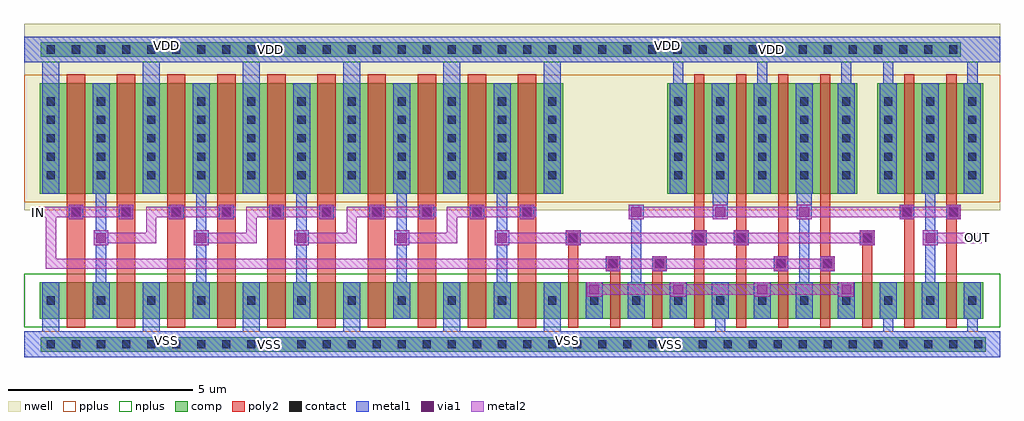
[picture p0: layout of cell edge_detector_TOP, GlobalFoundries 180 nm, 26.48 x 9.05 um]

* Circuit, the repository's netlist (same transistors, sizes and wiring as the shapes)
* Extracted by KLayout with GF180MCU LVS runset on : 16/11/2025 06:06

.SUBCKT edge_detector_TOP VSS IN OUT VDD
M$1 OUT \$13 VDD VDD pfet_03v3 L=0.28U W=6U AS=3.48P AD=3.48P PS=11.32U
+ PD=11.32U
M$3 \$13 \$8 VDD VDD pfet_03v3 L=0.28U W=6U AS=3.48P AD=2.58P PS=11.32U PD=7.72U
M$5 \$13 IN VDD VDD pfet_03v3 L=0.28U W=6U AS=2.58P AD=3.48P PS=7.72U PD=11.32U
M$7 \$3 IN VDD VDD pfet_03v3 L=0.5U W=6U AS=3.48P AD=2.58P PS=11.32U PD=7.72U
M$9 \$5 \$3 VDD VDD pfet_03v3 L=0.5U W=6U AS=2.58P AD=2.58P PS=7.72U PD=7.72U
M$11 \$6 \$5 VDD VDD pfet_03v3 L=0.5U W=6U AS=2.58P AD=2.58P PS=7.72U PD=7.72U
M$13 \$7 \$6 VDD VDD pfet_03v3 L=0.5U W=6U AS=2.58P AD=2.58P PS=7.72U PD=7.72U
M$15 \$8 \$7 VDD VDD pfet_03v3 L=0.5U W=6U AS=2.58P AD=3.48P PS=7.72U PD=11.32U
M$17 \$3 IN VSS VSS nfet_03v3 L=0.5U W=2U AS=1.16P AD=0.86P PS=5.32U PD=3.72U
M$19 \$5 \$3 VSS VSS nfet_03v3 L=0.5U W=2U AS=0.86P AD=0.86P PS=3.72U PD=3.72U
M$21 \$6 \$5 VSS VSS nfet_03v3 L=0.5U W=2U AS=0.86P AD=0.86P PS=3.72U PD=3.72U
M$23 \$7 \$6 VSS VSS nfet_03v3 L=0.5U W=2U AS=0.86P AD=0.86P PS=3.72U PD=3.72U
M$25 \$8 \$7 VSS VSS nfet_03v3 L=0.5U W=2U AS=0.86P AD=0.86P PS=3.72U PD=3.72U
M$27 \$14 \$8 VSS VSS nfet_03v3 L=0.28U W=4U AS=1.72P AD=1.72P PS=7.44U PD=7.44U
M$28 \$13 IN \$14 VSS nfet_03v3 L=0.28U W=4U AS=1.72P AD=1.72P PS=7.44U PD=7.44U
M$35 OUT \$13 VSS VSS nfet_03v3 L=0.28U W=2U AS=0.86P AD=1.16P PS=3.72U PD=5.32U
.ENDS edge_detector_TOP

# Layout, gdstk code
import gdstk
lib = gdstk.Library(unit=1e-6, precision=5e-09)
def R(c, l, rs):  # rectangles x0, y0, x1, y1
    for r in rs: c.add(gdstk.rectangle(r[:2], r[2:], *l))
def A(c, l, x, y, w, h, nx, ny, dx, dy):  # array of equal rectangles
    R(c, l, [(x+i*dx, y+j*dy, x+i*dx+w, y+j*dy+h) for i in range(nx) for j in range(ny)])
nwell = (21, 0)
comp = (22, 0)
poly2 = (30, 0)
pplus = (31, 0)
nplus = (32, 0)
contact = (33, 0)
metal1 = (34, 0)
via1 = (35, 0)
metal2 = (36, 0)

std_cell_frame = lib.new_cell('std_cell_frame')
R(std_cell_frame, nwell, [(0,3.99,3.78,9.05)])
R(std_cell_frame, pplus, [(0,0,3.78,0.7), (0,4.21,3.78,7.67)])
R(std_cell_frame, nplus, [(0,0.81,3.78,2.27), (0,8,3.78,8.7)])
std_cell_frame.add(gdstk.FlexPath([(0,0.35),(3.78,0.35)], 0.7, ends="flush", simple_path=True, layer=34, datatype=0))  # metal1
std_cell_frame.add(gdstk.FlexPath([(0,8.35),(3.78,8.35)], 0.7, ends="flush", simple_path=True, layer=34, datatype=0))  # metal1

std_pfet = lib.new_cell('std_pfet')
R(std_pfet, nwell, [(-1.22,-1.86,1.22,1.86)])
R(std_pfet, comp, [(-0.87,-1.5,0.87,1.5)])
R(std_pfet, poly2, [(-0.14,-1.74,0.14,1.74)])
R(std_pfet, pplus, [(-1.1,-1.73,1.1,1.73)])
A(std_pfet, contact, -0.68, -1.11, 0.22, 0.22, 1, 5, 0, 0.5)
A(std_pfet, contact, 0.46, -1.11, 0.22, 0.22, 1, 5, 0, 0.5)
A(std_pfet, metal1, -0.8, -1.23, 0.46, 0.46, 1, 5, 0, 0.5)
A(std_pfet, metal1, 0.34, -1.23, 0.46, 0.46, 1, 5, 0, 0.5)
R(std_pfet, metal1, [(-0.8,-1.5,-0.34,1.5), (0.34,-1.5,0.8,1.5)])

std_pfet_2nf = lib.new_cell('std_pfet_2nf')
R(std_pfet_2nf, nwell, [(-1.79,-1.86,1.79,1.86)])
R(std_pfet_2nf, comp, [(-1.44,-1.5,1.44,1.5)])
R(std_pfet_2nf, poly2, [(-0.71,-1.74,-0.43,1.74), (0.43,-1.74,0.71,1.74)])
R(std_pfet_2nf, pplus, [(-1.67,-1.73,1.67,1.73)])
A(std_pfet_2nf, contact, -1.25, -1.11, 0.22, 0.22, 3, 5, 1.14, 0.5)
A(std_pfet_2nf, metal1, -1.37, -1.5, 0.46, 3, 3, 1, 1.14, 0)
A(std_pfet_2nf, metal1, -1.37, -1.23, 0.46, 0.46, 3, 5, 1.14, 0.5)

via_dev_1 = lib.new_cell('via_dev$1')
R(via_dev_1, metal1, [(0,0,0.4,0.4)])
R(via_dev_1, via1, [(0.07,0.07,0.33,0.33)])
R(via_dev_1, metal2, [(0,0,0.4,0.4)])

std_nfet_2nf = lib.new_cell('std_nfet_2nf')
R(std_nfet_2nf, comp, [(-1.44,-0.5,1.44,0.5)])
R(std_nfet_2nf, poly2, [(-0.71,-0.74,-0.43,0.74), (0.43,-0.74,0.71,0.74)])
R(std_nfet_2nf, nplus, [(-1.67,-0.73,1.67,0.73)])
A(std_nfet_2nf, contact, -1.25, -0.11, 0.22, 0.22, 3, 1, 1.14, 0)
A(std_nfet_2nf, metal1, -1.37, -0.5, 0.46, 1, 3, 1, 1.14, 0)
A(std_nfet_2nf, metal1, -1.37, -0.23, 0.46, 0.46, 3, 1, 1.14, 0)

via_dev = lib.new_cell('via_dev')
R(via_dev, poly2, [(0,0,0.4,0.4)])
R(via_dev, contact, [(0.09,0.09,0.31,0.31)])
R(via_dev, metal1, [(0,0,0.4,0.4)])
R(via_dev, via1, [(0.07,0.07,0.33,0.33)])
R(via_dev, metal2, [(0,0,0.4,0.4)])

edge_detector_top = lib.new_cell('edge_detector_TOP')
A(edge_detector_top, nwell, 0, 3.99, 4.18, 5.06, 4, 1, 2.72, 0)
R(edge_detector_top, nwell, [(12.34,3.99,15.09,9.05)])
A(edge_detector_top, comp, 0.46, 0.15, 3.29, 0.4, 5, 1, 2.72, 0)
A(edge_detector_top, comp, 0.53, 0.15, 0.4, 0.4, 5, 2, 0.68, 8)
A(edge_detector_top, comp, 3.25, 0.15, 0.4, 0.4, 5, 2, 0.68, 8)
A(edge_detector_top, comp, 5.97, 0.15, 0.4, 0.4, 5, 2, 0.68, 8)
A(edge_detector_top, comp, 8.69, 0.15, 0.4, 0.4, 5, 2, 0.68, 8)
A(edge_detector_top, comp, 11.34, 0.15, 3.29, 0.4, 4, 1, 2.72, 0)
A(edge_detector_top, comp, 14.13, 0.15, 0.4, 0.4, 5, 2, 0.68, 8)
A(edge_detector_top, comp, 16.85, 0.15, 0.4, 0.4, 5, 2, 0.68, 8)
A(edge_detector_top, comp, 19.57, 0.15, 0.4, 0.4, 5, 2, 0.68, 8)
A(edge_detector_top, comp, 22.29, 0.15, 0.4, 0.4, 5, 2, 0.68, 8)
A(edge_detector_top, comp, 0.43, 1.04, 3.32, 1, 5, 1, 2.72, 0)
A(edge_detector_top, comp, 0.43, 4.44, 3.32, 3, 5, 1, 2.72, 0)
A(edge_detector_top, comp, 0.46, 8.15, 3.29, 0.4, 8, 1, 2.72, 0)
A(edge_detector_top, comp, 11.41, 8.15, 0.4, 0.4, 5, 1, 0.68, 0)
R(edge_detector_top, comp, [(11.41,0.15,11.81,0.55), (11.41,0.15,11.81,0.55), (11.41,0.15,11.81,0.55), (12.09,0.15,12.49,0.55), (12.09,0.15,12.49,0.55), (12.77,0.15,13.17,0.55), (12.77,0.15,13.17,0.55), (13.45,0.15,13.85,0.55), (13.45,0.15,13.85,0.55), (14.13,0.15,14.53,0.55), (14.13,0.15,14.53,0.55), (22.22,0.15,26.09,0.55), (22.29,0.15,22.69,0.55), (25.01,0.15,25.41,0.55), (25.69,0.15,26.09,0.55), (11.41,8.15,11.81,8.55), (22.22,8.15,25.41,8.55), (25.01,8.15,25.41,8.55), (25.01,8.15,25.41,8.55), (25.01,8.15,25.41,8.55)])
A(edge_detector_top, poly2, 1.16, 0.8, 0.5, 1.48, 10, 1, 1.36, 0)
A(edge_detector_top, poly2, 1.16, 0.8, 0.5, 2.89, 10, 1, 1.36, 0)
A(edge_detector_top, poly2, 1.16, 3.69, 0.5, 0.5, 10, 1, 1.36, 0)
A(edge_detector_top, poly2, 1.16, 4.19, 0.5, 3.49, 10, 1, 1.36, 0)
A(edge_detector_top, pplus, 0, 0, 4.18, 0.7, 3, 1, 2.72, 0)
A(edge_detector_top, pplus, 10.88, 0, 4.18, 0.7, 3, 1, 2.72, 0)
A(edge_detector_top, pplus, 0.2, 4.21, 3.78, 3.46, 4, 1, 2.72, 0)
R(edge_detector_top, pplus, [(8.16,0,15.09,0.7), (0,4.21,0.2,7.67), (12.14,4.21,14.86,7.67)])
A(edge_detector_top, nplus, 0, 0.81, 4.18, 1.46, 4, 1, 2.72, 0)
A(edge_detector_top, nplus, 0, 8, 4.18, 0.7, 3, 1, 2.72, 0)
A(edge_detector_top, nplus, 13.6, 8, 4.18, 0.7, 3, 1, 2.72, 0)
R(edge_detector_top, nplus, [(12.34,0.81,13.58,2.27), (8.16,8,15.09,8.7), (21.76,8,26.48,8.7)])
A(edge_detector_top, contact, 0.62, 0.24, 0.22, 0.22, 5, 2, 0.68, 8)
A(edge_detector_top, contact, 3.34, 0.24, 0.22, 0.22, 5, 2, 0.68, 8)
A(edge_detector_top, contact, 6.06, 0.24, 0.22, 0.22, 5, 2, 0.68, 8)
A(edge_detector_top, contact, 8.78, 0.24, 0.22, 0.22, 5, 2, 0.68, 8)
A(edge_detector_top, contact, 14.22, 0.24, 0.22, 0.22, 5, 2, 0.68, 8)
A(edge_detector_top, contact, 16.94, 0.24, 0.22, 0.22, 5, 2, 0.68, 8)
A(edge_detector_top, contact, 19.66, 0.24, 0.22, 0.22, 5, 2, 0.68, 8)
A(edge_detector_top, contact, 22.38, 0.24, 0.22, 0.22, 5, 2, 0.68, 8)
A(edge_detector_top, contact, 1.3, 3.83, 0.22, 0.22, 10, 1, 1.36, 0)
A(edge_detector_top, contact, 11.5, 8.24, 0.22, 0.22, 5, 1, 0.68, 0)
R(edge_detector_top, contact, [(11.5,0.24,11.72,0.46), (11.5,0.24,11.72,0.46), (11.5,0.24,11.72,0.46), (12.18,0.24,12.4,0.46), (12.18,0.24,12.4,0.46), (12.86,0.24,13.08,0.46), (12.86,0.24,13.08,0.46), (13.54,0.24,13.76,0.46), (13.54,0.24,13.76,0.46), (14.22,0.24,14.44,0.46), (14.22,0.24,14.44,0.46), (22.38,0.24,22.6,0.46), (25.1,0.24,25.32,0.46), (25.78,0.24,26,0.46), (0.62,1.43,0.84,1.65), (0.62,1.43,0.84,1.65), (0.62,1.43,0.84,1.65), (1.98,1.43,2.2,1.65), (1.98,1.43,2.2,1.65), (1.98,1.43,2.2,1.65), (3.34,1.43,3.56,1.65), (3.34,1.43,3.56,1.65), (3.34,1.43,3.56,1.65), (3.34,1.43,3.56,1.65), (3.34,1.43,3.56,1.65), (3.34,1.43,3.56,1.65), (4.7,1.43,4.92,1.65), (4.7,1.43,4.92,1.65), (4.7,1.43,4.92,1.65), (6.06,1.43,6.28,1.65), (6.06,1.43,6.28,1.65), (6.06,1.43,6.28,1.65), (6.06,1.43,6.28,1.65), (6.06,1.43,6.28,1.65), (6.06,1.43,6.28,1.65), (7.42,1.43,7.64,1.65), (7.42,1.43,7.64,1.65), (7.42,1.43,7.64,1.65), (8.78,1.43,9,1.65), (8.78,1.43,9,1.65), (8.78,1.43,9,1.65), (8.78,1.43,9,1.65), (8.78,1.43,9,1.65), (8.78,1.43,9,1.65), (10.14,1.43,10.36,1.65), (10.14,1.43,10.36,1.65), (10.14,1.43,10.36,1.65), (11.5,1.43,11.72,1.65), (11.5,1.43,11.72,1.65), (11.5,1.43,11.72,1.65), (11.5,1.43,11.72,1.65), (11.5,1.43,11.72,1.65), (11.5,1.43,11.72,1.65), (11.5,1.43,11.72,1.65), (11.5,1.43,11.72,1.65), (11.5,1.43,11.72,1.65), (12.86,1.43,13.08,1.65), (12.86,1.43,13.08,1.65), (12.86,1.43,13.08,1.65), (14.22,1.43,14.44,1.65), (14.22,1.43,14.44,1.65), (14.22,1.43,14.44,1.65), (0.62,4.83,0.84,5.05), (0.62,4.83,0.84,5.05), (0.62,4.83,0.84,5.05), (1.98,4.83,2.2,5.05), (1.98,4.83,2.2,5.05), (1.98,4.83,2.2,5.05), (3.34,4.83,3.56,5.05), (3.34,4.83,3.56,5.05), (3.34,4.83,3.56,5.05), (3.34,4.83,3.56,5.05), (3.34,4.83,3.56,5.05), (3.34,4.83,3.56,5.05), (4.7,4.83,4.92,5.05), (4.7,4.83,4.92,5.05), (4.7,4.83,4.92,5.05), (6.06,4.83,6.28,5.05), (6.06,4.83,6.28,5.05), (6.06,4.83,6.28,5.05), (6.06,4.83,6.28,5.05), (6.06,4.83,6.28,5.05), (6.06,4.83,6.28,5.05), (7.42,4.83,7.64,5.05), (7.42,4.83,7.64,5.05), (7.42,4.83,7.64,5.05), (8.78,4.83,9,5.05), (8.78,4.83,9,5.05), (8.78,4.83,9,5.05), (8.78,4.83,9,5.05), (8.78,4.83,9,5.05), (8.78,4.83,9,5.05), (10.14,4.83,10.36,5.05), (10.14,4.83,10.36,5.05), (10.14,4.83,10.36,5.05), (11.5,4.83,11.72,5.05), (11.5,4.83,11.72,5.05), (11.5,4.83,11.72,5.05), (11.5,4.83,11.72,5.05), (11.5,4.83,11.72,5.05), (11.5,4.83,11.72,5.05), (11.5,4.83,11.72,5.05), (11.5,4.83,11.72,5.05), (11.5,4.83,11.72,5.05), (12.86,4.83,13.08,5.05), (12.86,4.83,13.08,5.05), (12.86,4.83,13.08,5.05), (14.22,4.83,14.44,5.05), (14.22,4.83,14.44,5.05), (14.22,4.83,14.44,5.05), (0.62,5.33,0.84,5.55), (0.62,5.33,0.84,5.55), (0.62,5.33,0.84,5.55), (1.98,5.33,2.2,5.55), (1.98,5.33,2.2,5.55), (1.98,5.33,2.2,5.55), (3.34,5.33,3.56,5.55), (3.34,5.33,3.56,5.55), (3.34,5.33,3.56,5.55), (3.34,5.33,3.56,5.55), (3.34,5.33,3.56,5.55), (3.34,5.33,3.56,5.55), (4.7,5.33,4.92,5.55), (4.7,5.33,4.92,5.55), (4.7,5.33,4.92,5.55), (6.06,5.33,6.28,5.55), (6.06,5.33,6.28,5.55), (6.06,5.33,6.28,5.55), (6.06,5.33,6.28,5.55), (6.06,5.33,6.28,5.55), (6.06,5.33,6.28,5.55), (7.42,5.33,7.64,5.55), (7.42,5.33,7.64,5.55), (7.42,5.33,7.64,5.55), (8.78,5.33,9,5.55), (8.78,5.33,9,5.55), (8.78,5.33,9,5.55), (8.78,5.33,9,5.55), (8.78,5.33,9,5.55), (8.78,5.33,9,5.55), (10.14,5.33,10.36,5.55), (10.14,5.33,10.36,5.55), (10.14,5.33,10.36,5.55), (11.5,5.33,11.72,5.55), (11.5,5.33,11.72,5.55), (11.5,5.33,11.72,5.55), (11.5,5.33,11.72,5.55), (11.5,5.33,11.72,5.55), (11.5,5.33,11.72,5.55), (11.5,5.33,11.72,5.55), (11.5,5.33,11.72,5.55), (11.5,5.33,11.72,5.55), (12.86,5.33,13.08,5.55), (12.86,5.33,13.08,5.55), (12.86,5.33,13.08,5.55), (14.22,5.33,14.44,5.55), (14.22,5.33,14.44,5.55), (14.22,5.33,14.44,5.55), (0.62,5.83,0.84,6.05), (0.62,5.83,0.84,6.05), (0.62,5.83,0.84,6.05), (1.98,5.83,2.2,6.05), (1.98,5.83,2.2,6.05), (1.98,5.83,2.2,6.05), (3.34,5.83,3.56,6.05), (3.34,5.83,3.56,6.05), (3.34,5.83,3.56,6.05), (3.34,5.83,3.56,6.05), (3.34,5.83,3.56,6.05), (3.34,5.83,3.56,6.05), (4.7,5.83,4.92,6.05), (4.7,5.83,4.92,6.05), (4.7,5.83,4.92,6.05), (6.06,5.83,6.28,6.05), (6.06,5.83,6.28,6.05), (6.06,5.83,6.28,6.05), (6.06,5.83,6.28,6.05), (6.06,5.83,6.28,6.05), (6.06,5.83,6.28,6.05), (7.42,5.83,7.64,6.05), (7.42,5.83,7.64,6.05), (7.42,5.83,7.64,6.05), (8.78,5.83,9,6.05), (8.78,5.83,9,6.05), (8.78,5.83,9,6.05), (8.78,5.83,9,6.05), (8.78,5.83,9,6.05), (8.78,5.83,9,6.05), (10.14,5.83,10.36,6.05), (10.14,5.83,10.36,6.05), (10.14,5.83,10.36,6.05), (11.5,5.83,11.72,6.05), (11.5,5.83,11.72,6.05), (11.5,5.83,11.72,6.05), (11.5,5.83,11.72,6.05), (11.5,5.83,11.72,6.05), (11.5,5.83,11.72,6.05), (11.5,5.83,11.72,6.05), (11.5,5.83,11.72,6.05), (11.5,5.83,11.72,6.05), (12.86,5.83,13.08,6.05), (12.86,5.83,13.08,6.05), (12.86,5.83,13.08,6.05), (14.22,5.83,14.44,6.05), (14.22,5.83,14.44,6.05), (14.22,5.83,14.44,6.05), (0.62,6.33,0.84,6.55), (0.62,6.33,0.84,6.55), (0.62,6.33,0.84,6.55), (1.98,6.33,2.2,6.55), (1.98,6.33,2.2,6.55), (1.98,6.33,2.2,6.55), (3.34,6.33,3.56,6.55), (3.34,6.33,3.56,6.55), (3.34,6.33,3.56,6.55), (3.34,6.33,3.56,6.55), (3.34,6.33,3.56,6.55), (3.34,6.33,3.56,6.55), (4.7,6.33,4.92,6.55), (4.7,6.33,4.92,6.55), (4.7,6.33,4.92,6.55), (6.06,6.33,6.28,6.55), (6.06,6.33,6.28,6.55), (6.06,6.33,6.28,6.55), (6.06,6.33,6.28,6.55), (6.06,6.33,6.28,6.55), (6.06,6.33,6.28,6.55), (7.42,6.33,7.64,6.55), (7.42,6.33,7.64,6.55), (7.42,6.33,7.64,6.55), (8.78,6.33,9,6.55), (8.78,6.33,9,6.55), (8.78,6.33,9,6.55), (8.78,6.33,9,6.55), (8.78,6.33,9,6.55), (8.78,6.33,9,6.55), (10.14,6.33,10.36,6.55), (10.14,6.33,10.36,6.55), (10.14,6.33,10.36,6.55), (11.5,6.33,11.72,6.55), (11.5,6.33,11.72,6.55), (11.5,6.33,11.72,6.55), (11.5,6.33,11.72,6.55), (11.5,6.33,11.72,6.55), (11.5,6.33,11.72,6.55), (11.5,6.33,11.72,6.55), (11.5,6.33,11.72,6.55), (11.5,6.33,11.72,6.55), (12.86,6.33,13.08,6.55), (12.86,6.33,13.08,6.55), (12.86,6.33,13.08,6.55), (14.22,6.33,14.44,6.55), (14.22,6.33,14.44,6.55), (14.22,6.33,14.44,6.55), (0.62,6.83,0.84,7.05), (0.62,6.83,0.84,7.05), (0.62,6.83,0.84,7.05), (1.98,6.83,2.2,7.05), (1.98,6.83,2.2,7.05), (1.98,6.83,2.2,7.05), (3.34,6.83,3.56,7.05), (3.34,6.83,3.56,7.05), (3.34,6.83,3.56,7.05), (3.34,6.83,3.56,7.05), (3.34,6.83,3.56,7.05), (3.34,6.83,3.56,7.05), (4.7,6.83,4.92,7.05), (4.7,6.83,4.92,7.05), (4.7,6.83,4.92,7.05), (6.06,6.83,6.28,7.05), (6.06,6.83,6.28,7.05), (6.06,6.83,6.28,7.05), (6.06,6.83,6.28,7.05), (6.06,6.83,6.28,7.05), (6.06,6.83,6.28,7.05), (7.42,6.83,7.64,7.05), (7.42,6.83,7.64,7.05), (7.42,6.83,7.64,7.05), (8.78,6.83,9,7.05), (8.78,6.83,9,7.05), (8.78,6.83,9,7.05), (8.78,6.83,9,7.05), (8.78,6.83,9,7.05), (8.78,6.83,9,7.05), (10.14,6.83,10.36,7.05), (10.14,6.83,10.36,7.05), (10.14,6.83,10.36,7.05), (11.5,6.83,11.72,7.05), (11.5,6.83,11.72,7.05), (11.5,6.83,11.72,7.05), (11.5,6.83,11.72,7.05), (11.5,6.83,11.72,7.05), (11.5,6.83,11.72,7.05), (11.5,6.83,11.72,7.05), (11.5,6.83,11.72,7.05), (11.5,6.83,11.72,7.05), (12.86,6.83,13.08,7.05), (12.86,6.83,13.08,7.05), (12.86,6.83,13.08,7.05), (14.22,6.83,14.44,7.05), (14.22,6.83,14.44,7.05), (14.22,6.83,14.44,7.05), (11.5,8.24,11.72,8.46), (25.1,8.24,25.32,8.46), (25.1,8.24,25.32,8.46), (25.1,8.24,25.32,8.46)])
A(edge_detector_top, metal1, 0.53, 0.15, 0.4, 0.4, 5, 2, 0.68, 8)
A(edge_detector_top, metal1, 3.25, 0.15, 0.4, 0.4, 5, 2, 0.68, 8)
A(edge_detector_top, metal1, 5.97, 0.15, 0.4, 0.4, 5, 2, 0.68, 8)
A(edge_detector_top, metal1, 8.69, 0.15, 0.4, 0.4, 5, 2, 0.68, 8)
A(edge_detector_top, metal1, 14.13, 0.15, 0.4, 0.4, 5, 2, 0.68, 8)
A(edge_detector_top, metal1, 16.85, 0.15, 0.4, 0.4, 5, 2, 0.68, 8)
A(edge_detector_top, metal1, 19.57, 0.15, 0.4, 0.4, 5, 2, 0.68, 8)
A(edge_detector_top, metal1, 22.29, 0.15, 0.4, 0.4, 5, 2, 0.68, 8)
A(edge_detector_top, metal1, 1.89, 3.04, 0.4, 0.4, 5, 1, 2.72, 0)
A(edge_detector_top, metal1, 11.41, 8.15, 0.4, 0.4, 5, 1, 0.68, 0)
R(edge_detector_top, metal1, [(11.41,0.15,11.81,0.55), (11.41,0.15,11.81,0.55), (11.41,0.15,11.81,0.55), (12.09,0.15,12.49,0.55), (12.09,0.15,12.49,0.55), (12.77,0.15,13.17,0.55), (12.77,0.15,13.17,0.55), (13.45,0.15,13.85,0.55), (13.45,0.15,13.85,0.55), (14.13,0.15,14.53,0.55), (14.13,0.15,14.53,0.55), (22.29,0.15,22.69,0.55), (25.01,0.15,25.41,0.55), (25.69,0.15,26.09,0.55), (0.5,1.04,0.96,2.04), (0.5,1.04,0.96,2.04), (0.5,1.04,0.96,2.04), (1.86,1.04,2.32,2.04), (1.86,1.04,2.32,2.04), (1.86,1.04,2.32,2.04), (3.22,1.04,3.68,2.04), (3.22,1.04,3.68,2.04), (3.22,1.04,3.68,2.04), (3.22,1.04,3.68,2.04), (3.22,1.04,3.68,2.04), (3.22,1.04,3.68,2.04), (4.58,1.04,5.04,2.04), (4.58,1.04,5.04,2.04), (4.58,1.04,5.04,2.04), (5.94,1.04,6.4,2.04), (5.94,1.04,6.4,2.04), (5.94,1.04,6.4,2.04), (5.94,1.04,6.4,2.04), (5.94,1.04,6.4,2.04), (5.94,1.04,6.4,2.04), (7.3,1.04,7.76,2.04), (7.3,1.04,7.76,2.04), (7.3,1.04,7.76,2.04), (8.66,1.04,9.12,2.04), (8.66,1.04,9.12,2.04), (8.66,1.04,9.12,2.04), (8.66,1.04,9.12,2.04), (8.66,1.04,9.12,2.04), (8.66,1.04,9.12,2.04), (10.02,1.04,10.48,2.04), (10.02,1.04,10.48,2.04), (10.02,1.04,10.48,2.04), (11.38,1.04,11.84,2.04), (11.38,1.04,11.84,2.04), (11.38,1.04,11.84,2.04), (11.38,1.04,11.84,2.04), (11.38,1.04,11.84,2.04), (11.38,1.04,11.84,2.04), (11.38,1.04,11.84,2.04), (11.38,1.04,11.84,2.04), (11.38,1.04,11.84,2.04), (12.74,1.04,13.2,2.04), (12.74,1.04,13.2,2.04), (12.74,1.04,13.2,2.04), (14.1,1.04,14.56,2.04), (14.1,1.04,14.56,2.04), (14.1,1.04,14.56,2.04), (0.5,1.31,0.96,1.77), (0.5,1.31,0.96,1.77), (0.5,1.31,0.96,1.77), (1.86,1.31,2.32,1.77), (1.86,1.31,2.32,1.77), (1.86,1.31,2.32,1.77), (3.22,1.31,3.68,1.77), (3.22,1.31,3.68,1.77), (3.22,1.31,3.68,1.77), (3.22,1.31,3.68,1.77), (3.22,1.31,3.68,1.77), (3.22,1.31,3.68,1.77), (4.58,1.31,5.04,1.77), (4.58,1.31,5.04,1.77), (4.58,1.31,5.04,1.77), (5.94,1.31,6.4,1.77), (5.94,1.31,6.4,1.77), (5.94,1.31,6.4,1.77), (5.94,1.31,6.4,1.77), (5.94,1.31,6.4,1.77), (5.94,1.31,6.4,1.77), (7.3,1.31,7.76,1.77), (7.3,1.31,7.76,1.77), (7.3,1.31,7.76,1.77), (8.66,1.31,9.12,1.77), (8.66,1.31,9.12,1.77), (8.66,1.31,9.12,1.77), (8.66,1.31,9.12,1.77), (8.66,1.31,9.12,1.77), (8.66,1.31,9.12,1.77), (10.02,1.31,10.48,1.77), (10.02,1.31,10.48,1.77), (10.02,1.31,10.48,1.77), (11.38,1.31,11.84,1.77), (11.38,1.31,11.84,1.77), (11.38,1.31,11.84,1.77), (11.38,1.31,11.84,1.77), (11.38,1.31,11.84,1.77), (11.38,1.31,11.84,1.77), (11.38,1.31,11.84,1.77), (11.38,1.31,11.84,1.77), (11.38,1.31,11.84,1.77), (12.74,1.31,13.2,1.77), (12.74,1.31,13.2,1.77), (12.74,1.31,13.2,1.77), (14.1,1.31,14.56,1.77), (14.1,1.31,14.56,1.77), (14.1,1.31,14.56,1.77), (1.21,3.74,1.61,4.14), (1.21,3.74,1.61,4.14), (2.57,3.74,2.97,4.14), (2.57,3.74,2.97,4.14), (3.93,3.74,4.33,4.14), (3.93,3.74,4.33,4.14), (5.29,3.74,5.69,4.14), (5.29,3.74,5.69,4.14), (6.65,3.74,7.05,4.14), (6.65,3.74,7.05,4.14), (8.01,3.74,8.41,4.14), (8.01,3.74,8.41,4.14), (9.37,3.74,9.77,4.14), (9.37,3.74,9.77,4.14), (10.73,3.74,11.13,4.14), (10.73,3.74,11.13,4.14), (12.09,3.74,12.49,4.14), (12.09,3.74,12.49,4.14), (13.45,3.74,13.85,4.14), (13.45,3.74,13.85,4.14), (0.5,4.44,0.96,7.44), (0.5,4.44,0.96,7.44), (0.5,4.44,0.96,7.44), (1.86,4.44,2.32,7.44), (1.86,4.44,2.32,7.44), (1.86,4.44,2.32,7.44), (3.22,4.44,3.68,7.44), (3.22,4.44,3.68,7.44), (3.22,4.44,3.68,7.44), (3.22,4.44,3.68,7.44), (3.22,4.44,3.68,7.44), (3.22,4.44,3.68,7.44), (4.58,4.44,5.04,7.44), (4.58,4.44,5.04,7.44), (4.58,4.44,5.04,7.44), (5.94,4.44,6.4,7.44), (5.94,4.44,6.4,7.44), (5.94,4.44,6.4,7.44), (5.94,4.44,6.4,7.44), (5.94,4.44,6.4,7.44), (5.94,4.44,6.4,7.44), (7.3,4.44,7.76,7.44), (7.3,4.44,7.76,7.44), (7.3,4.44,7.76,7.44), (8.66,4.44,9.12,7.44), (8.66,4.44,9.12,7.44), (8.66,4.44,9.12,7.44), (8.66,4.44,9.12,7.44), (8.66,4.44,9.12,7.44), (8.66,4.44,9.12,7.44), (10.02,4.44,10.48,7.44), (10.02,4.44,10.48,7.44), (10.02,4.44,10.48,7.44), (11.38,4.44,11.84,7.44), (11.38,4.44,11.84,7.44), (11.38,4.44,11.84,7.44), (11.38,4.44,11.84,7.44), (11.38,4.44,11.84,7.44), (11.38,4.44,11.84,7.44), (11.38,4.44,11.84,7.44), (11.38,4.44,11.84,7.44), (11.38,4.44,11.84,7.44), (12.74,4.44,13.2,7.44), (12.74,4.44,13.2,7.44), (12.74,4.44,13.2,7.44), (14.1,4.44,14.56,7.44), (14.1,4.44,14.56,7.44), (14.1,4.44,14.56,7.44), (0.5,4.71,0.96,5.17), (0.5,4.71,0.96,5.17), (0.5,4.71,0.96,5.17), (1.86,4.71,2.32,5.17), (1.86,4.71,2.32,5.17), (1.86,4.71,2.32,5.17), (3.22,4.71,3.68,5.17), (3.22,4.71,3.68,5.17), (3.22,4.71,3.68,5.17), (3.22,4.71,3.68,5.17), (3.22,4.71,3.68,5.17), (3.22,4.71,3.68,5.17), (4.58,4.71,5.04,5.17), (4.58,4.71,5.04,5.17), (4.58,4.71,5.04,5.17), (5.94,4.71,6.4,5.17), (5.94,4.71,6.4,5.17), (5.94,4.71,6.4,5.17), (5.94,4.71,6.4,5.17), (5.94,4.71,6.4,5.17), (5.94,4.71,6.4,5.17), (7.3,4.71,7.76,5.17), (7.3,4.71,7.76,5.17), (7.3,4.71,7.76,5.17), (8.66,4.71,9.12,5.17), (8.66,4.71,9.12,5.17), (8.66,4.71,9.12,5.17), (8.66,4.71,9.12,5.17), (8.66,4.71,9.12,5.17), (8.66,4.71,9.12,5.17), (10.02,4.71,10.48,5.17), (10.02,4.71,10.48,5.17), (10.02,4.71,10.48,5.17), (11.38,4.71,11.84,5.17), (11.38,4.71,11.84,5.17), (11.38,4.71,11.84,5.17), (11.38,4.71,11.84,5.17), (11.38,4.71,11.84,5.17), (11.38,4.71,11.84,5.17), (11.38,4.71,11.84,5.17), (11.38,4.71,11.84,5.17), (11.38,4.71,11.84,5.17), (12.74,4.71,13.2,5.17), (12.74,4.71,13.2,5.17), (12.74,4.71,13.2,5.17), (14.1,4.71,14.56,5.17), (14.1,4.71,14.56,5.17), (14.1,4.71,14.56,5.17), (0.5,5.21,0.96,5.67), (0.5,5.21,0.96,5.67), (0.5,5.21,0.96,5.67), (1.86,5.21,2.32,5.67), (1.86,5.21,2.32,5.67), (1.86,5.21,2.32,5.67), (3.22,5.21,3.68,5.67), (3.22,5.21,3.68,5.67), (3.22,5.21,3.68,5.67), (3.22,5.21,3.68,5.67), (3.22,5.21,3.68,5.67), (3.22,5.21,3.68,5.67), (4.58,5.21,5.04,5.67), (4.58,5.21,5.04,5.67), (4.58,5.21,5.04,5.67), (5.94,5.21,6.4,5.67), (5.94,5.21,6.4,5.67), (5.94,5.21,6.4,5.67), (5.94,5.21,6.4,5.67), (5.94,5.21,6.4,5.67), (5.94,5.21,6.4,5.67), (7.3,5.21,7.76,5.67), (7.3,5.21,7.76,5.67), (7.3,5.21,7.76,5.67), (8.66,5.21,9.12,5.67), (8.66,5.21,9.12,5.67), (8.66,5.21,9.12,5.67), (8.66,5.21,9.12,5.67), (8.66,5.21,9.12,5.67), (8.66,5.21,9.12,5.67), (10.02,5.21,10.48,5.67), (10.02,5.21,10.48,5.67), (10.02,5.21,10.48,5.67), (11.38,5.21,11.84,5.67), (11.38,5.21,11.84,5.67), (11.38,5.21,11.84,5.67), (11.38,5.21,11.84,5.67), (11.38,5.21,11.84,5.67), (11.38,5.21,11.84,5.67), (11.38,5.21,11.84,5.67), (11.38,5.21,11.84,5.67), (11.38,5.21,11.84,5.67), (12.74,5.21,13.2,5.67), (12.74,5.21,13.2,5.67), (12.74,5.21,13.2,5.67), (14.1,5.21,14.56,5.67), (14.1,5.21,14.56,5.67), (14.1,5.21,14.56,5.67), (0.5,5.71,0.96,6.17), (0.5,5.71,0.96,6.17), (0.5,5.71,0.96,6.17), (1.86,5.71,2.32,6.17), (1.86,5.71,2.32,6.17), (1.86,5.71,2.32,6.17), (3.22,5.71,3.68,6.17), (3.22,5.71,3.68,6.17), (3.22,5.71,3.68,6.17), (3.22,5.71,3.68,6.17), (3.22,5.71,3.68,6.17), (3.22,5.71,3.68,6.17), (4.58,5.71,5.04,6.17), (4.58,5.71,5.04,6.17), (4.58,5.71,5.04,6.17), (5.94,5.71,6.4,6.17), (5.94,5.71,6.4,6.17), (5.94,5.71,6.4,6.17), (5.94,5.71,6.4,6.17), (5.94,5.71,6.4,6.17), (5.94,5.71,6.4,6.17), (7.3,5.71,7.76,6.17), (7.3,5.71,7.76,6.17), (7.3,5.71,7.76,6.17), (8.66,5.71,9.12,6.17), (8.66,5.71,9.12,6.17), (8.66,5.71,9.12,6.17), (8.66,5.71,9.12,6.17), (8.66,5.71,9.12,6.17), (8.66,5.71,9.12,6.17), (10.02,5.71,10.48,6.17), (10.02,5.71,10.48,6.17), (10.02,5.71,10.48,6.17), (11.38,5.71,11.84,6.17), (11.38,5.71,11.84,6.17), (11.38,5.71,11.84,6.17), (11.38,5.71,11.84,6.17), (11.38,5.71,11.84,6.17), (11.38,5.71,11.84,6.17), (11.38,5.71,11.84,6.17), (11.38,5.71,11.84,6.17), (11.38,5.71,11.84,6.17), (12.74,5.71,13.2,6.17), (12.74,5.71,13.2,6.17), (12.74,5.71,13.2,6.17), (14.1,5.71,14.56,6.17), (14.1,5.71,14.56,6.17), (14.1,5.71,14.56,6.17), (0.5,6.21,0.96,6.67), (0.5,6.21,0.96,6.67), (0.5,6.21,0.96,6.67), (1.86,6.21,2.32,6.67), (1.86,6.21,2.32,6.67), (1.86,6.21,2.32,6.67), (3.22,6.21,3.68,6.67), (3.22,6.21,3.68,6.67), (3.22,6.21,3.68,6.67), (3.22,6.21,3.68,6.67), (3.22,6.21,3.68,6.67), (3.22,6.21,3.68,6.67), (4.58,6.21,5.04,6.67), (4.58,6.21,5.04,6.67), (4.58,6.21,5.04,6.67), (5.94,6.21,6.4,6.67), (5.94,6.21,6.4,6.67), (5.94,6.21,6.4,6.67), (5.94,6.21,6.4,6.67), (5.94,6.21,6.4,6.67), (5.94,6.21,6.4,6.67), (7.3,6.21,7.76,6.67), (7.3,6.21,7.76,6.67), (7.3,6.21,7.76,6.67), (8.66,6.21,9.12,6.67), (8.66,6.21,9.12,6.67), (8.66,6.21,9.12,6.67), (8.66,6.21,9.12,6.67), (8.66,6.21,9.12,6.67), (8.66,6.21,9.12,6.67), (10.02,6.21,10.48,6.67), (10.02,6.21,10.48,6.67), (10.02,6.21,10.48,6.67), (11.38,6.21,11.84,6.67), (11.38,6.21,11.84,6.67), (11.38,6.21,11.84,6.67), (11.38,6.21,11.84,6.67), (11.38,6.21,11.84,6.67), (11.38,6.21,11.84,6.67), (11.38,6.21,11.84,6.67), (11.38,6.21,11.84,6.67), (11.38,6.21,11.84,6.67), (12.74,6.21,13.2,6.67), (12.74,6.21,13.2,6.67), (12.74,6.21,13.2,6.67), (14.1,6.21,14.56,6.67), (14.1,6.21,14.56,6.67), (14.1,6.21,14.56,6.67), (0.5,6.71,0.96,7.17), (0.5,6.71,0.96,7.17), (0.5,6.71,0.96,7.17), (1.86,6.71,2.32,7.17), (1.86,6.71,2.32,7.17), (1.86,6.71,2.32,7.17), (3.22,6.71,3.68,7.17), (3.22,6.71,3.68,7.17), (3.22,6.71,3.68,7.17), (3.22,6.71,3.68,7.17), (3.22,6.71,3.68,7.17), (3.22,6.71,3.68,7.17), (4.58,6.71,5.04,7.17), (4.58,6.71,5.04,7.17), (4.58,6.71,5.04,7.17), (5.94,6.71,6.4,7.17), (5.94,6.71,6.4,7.17), (5.94,6.71,6.4,7.17), (5.94,6.71,6.4,7.17), (5.94,6.71,6.4,7.17), (5.94,6.71,6.4,7.17), (7.3,6.71,7.76,7.17), (7.3,6.71,7.76,7.17), (7.3,6.71,7.76,7.17), (8.66,6.71,9.12,7.17), (8.66,6.71,9.12,7.17), (8.66,6.71,9.12,7.17), (8.66,6.71,9.12,7.17), (8.66,6.71,9.12,7.17), (8.66,6.71,9.12,7.17), (10.02,6.71,10.48,7.17), (10.02,6.71,10.48,7.17), (10.02,6.71,10.48,7.17), (11.38,6.71,11.84,7.17), (11.38,6.71,11.84,7.17), (11.38,6.71,11.84,7.17), (11.38,6.71,11.84,7.17), (11.38,6.71,11.84,7.17), (11.38,6.71,11.84,7.17), (11.38,6.71,11.84,7.17), (11.38,6.71,11.84,7.17), (11.38,6.71,11.84,7.17), (12.74,6.71,13.2,7.17), (12.74,6.71,13.2,7.17), (12.74,6.71,13.2,7.17), (14.1,6.71,14.56,7.17), (14.1,6.71,14.56,7.17), (14.1,6.71,14.56,7.17), (11.41,8.15,11.81,8.55), (25.01,8.15,25.41,8.55), (25.01,8.15,25.41,8.55), (25.01,8.15,25.41,8.55)])
A(edge_detector_top, via1, 1.96, 3.11, 0.26, 0.26, 5, 1, 2.72, 0)
A(edge_detector_top, via1, 1.28, 3.81, 0.26, 0.26, 10, 1, 1.36, 0)
A(edge_detector_top, metal2, 1.89, 3.04, 0.4, 0.4, 5, 1, 2.72, 0)
A(edge_detector_top, metal2, 1.21, 3.74, 0.4, 0.4, 10, 1, 1.36, 0)
edge_detector_top.add(gdstk.FlexPath([(3.59,3.24),(1.89,3.24)], 0.28, ends="flush", simple_path=True, layer=36, datatype=0))  # metal2
edge_detector_top.add(gdstk.FlexPath([(2.955,3.94),(0.3,3.94)], 0.28, ends="flush", simple_path=True, layer=36, datatype=0))  # metal2
edge_detector_top.add(gdstk.FlexPath([(5.74,3.24),(4.61,3.24)], 0.28, ends="flush", simple_path=True, layer=36, datatype=0))  # metal2
edge_detector_top.add(gdstk.FlexPath([(5.74,3.94),(3.31,3.94)], 0.28, ends="flush", simple_path=True, layer=36, datatype=0))  # metal2
edge_detector_top.add(gdstk.FlexPath([(8.46,3.24),(7.33,3.24)], 0.28, ends="flush", simple_path=True, layer=36, datatype=0))  # metal2
edge_detector_top.add(gdstk.FlexPath([(8.395,3.94),(6.6,3.94)], 0.28, ends="flush", simple_path=True, layer=36, datatype=0))  # metal2
edge_detector_top.add(gdstk.FlexPath([(11.18,3.24),(10.05,3.24)], 0.28, ends="flush", simple_path=True, layer=36, datatype=0))  # metal2
edge_detector_top.add(gdstk.FlexPath([(11.115,3.94),(9.32,3.94)], 0.28, ends="flush", simple_path=True, layer=36, datatype=0))  # metal2
edge_detector_top.add(gdstk.FlexPath([(14.1,3.24),(12.77,3.24)], 0.28, ends="flush", simple_path=True, layer=36, datatype=0))  # metal2
edge_detector_top.add(gdstk.FlexPath([(13.835,3.94),(12.04,3.94)], 0.28, ends="flush", simple_path=True, layer=36, datatype=0))  # metal2
edge_detector_top.add(gdstk.FlexPath([(0.59,2.54),(22,2.54)], 0.28, ends="flush", simple_path=True, layer=36, datatype=0))  # metal2
edge_detector_top.add(gdstk.FlexPath([(16.41,3.94),(25.42,3.94)], 0.28, ends="flush", simple_path=True, layer=36, datatype=0))  # metal2
edge_detector_top.add(gdstk.FlexPath([(24.39,3.24),(25.98,3.24)], 0.28, ends="flush", simple_path=True, layer=36, datatype=0))  # metal2
edge_detector_top.add(gdstk.FlexPath([(15.27,1.84),(22.51,1.84)], 0.28, ends="flush", simple_path=True, layer=36, datatype=0))  # metal2
edge_detector_top.add(gdstk.FlexPath([(14.1,3.24),(23.08,3.24)], 0.28, ends="flush", simple_path=True, layer=36, datatype=0))  # metal2
edge_detector_top.add(gdstk.FlexPath([(3.45,4.08),(3.45,3.1)], 0.28, ends="flush", simple_path=True, layer=36, datatype=0))  # metal2
edge_detector_top.add(gdstk.FlexPath([(6.31,3.24),(4.61,3.24)], 0.28, ends="flush", simple_path=True, layer=36, datatype=0))  # metal2
edge_detector_top.add(gdstk.FlexPath([(8.46,3.94),(6.03,3.94)], 0.28, ends="flush", simple_path=True, layer=36, datatype=0))  # metal2
edge_detector_top.add(gdstk.FlexPath([(6.17,4.08),(6.17,3.1)], 0.28, ends="flush", simple_path=True, layer=36, datatype=0))  # metal2
edge_detector_top.add(gdstk.FlexPath([(9.03,3.24),(7.33,3.24)], 0.28, ends="flush", simple_path=True, layer=36, datatype=0))  # metal2
edge_detector_top.add(gdstk.FlexPath([(11.18,3.94),(8.75,3.94)], 0.28, ends="flush", simple_path=True, layer=36, datatype=0))  # metal2
edge_detector_top.add(gdstk.FlexPath([(8.89,4.08),(8.89,3.1)], 0.28, ends="flush", simple_path=True, layer=36, datatype=0))  # metal2
edge_detector_top.add(gdstk.FlexPath([(11.75,3.24),(10.05,3.24)], 0.28, ends="flush", simple_path=True, layer=36, datatype=0))  # metal2
edge_detector_top.add(gdstk.FlexPath([(13.9,3.94),(11.47,3.94)], 0.28, ends="flush", simple_path=True, layer=36, datatype=0))  # metal2
edge_detector_top.add(gdstk.FlexPath([(11.61,4.08),(11.61,3.1)], 0.28, ends="flush", simple_path=True, layer=36, datatype=0))  # metal2
edge_detector_top.add(gdstk.FlexPath([(0.73,4.08),(0.73,2.4)], 0.28, ends="flush", simple_path=True, layer=36, datatype=0))  # metal2
edge_detector_top.add(gdstk.FlexPath([(4.81,2.04),(4.81,4.44)], 0.28, ends="flush", simple_path=True, layer=34, datatype=0))  # metal1
edge_detector_top.add(gdstk.FlexPath([(3.45,7.44),(3.45,8)], 0.46, ends="flush", simple_path=True, layer=34, datatype=0))  # metal1
edge_detector_top.add(gdstk.FlexPath([(6.17,7.44),(6.17,8)], 0.46, ends="flush", simple_path=True, layer=34, datatype=0))  # metal1
edge_detector_top.add(gdstk.FlexPath([(3.45,0.7),(3.45,1.04)], 0.46, ends="flush", simple_path=True, layer=34, datatype=0))  # metal1
edge_detector_top.add(gdstk.FlexPath([(6.17,0.7),(6.17,1.04)], 0.46, ends="flush", simple_path=True, layer=34, datatype=0))  # metal1
edge_detector_top.add(gdstk.FlexPath([(2.72,8.35),(6.9,8.35)], 0.7, ends="flush", simple_path=True, layer=34, datatype=0))  # metal1
edge_detector_top.add(gdstk.FlexPath([(2.72,0.35),(6.9,0.35)], 0.7, ends="flush", simple_path=True, layer=34, datatype=0))  # metal1
edge_detector_top.add(gdstk.FlexPath([(10.25,2.04),(10.25,4.44)], 0.28, ends="flush", simple_path=True, layer=34, datatype=0))  # metal1
edge_detector_top.add(gdstk.FlexPath([(8.89,7.44),(8.89,8)], 0.46, ends="flush", simple_path=True, layer=34, datatype=0))  # metal1
edge_detector_top.add(gdstk.FlexPath([(11.61,7.44),(11.61,8)], 0.46, ends="flush", simple_path=True, layer=34, datatype=0))  # metal1
edge_detector_top.add(gdstk.FlexPath([(8.89,0.7),(8.89,1.04)], 0.46, ends="flush", simple_path=True, layer=34, datatype=0))  # metal1
edge_detector_top.add(gdstk.FlexPath([(11.61,0.7),(11.61,1.04)], 0.46, ends="flush", simple_path=True, layer=34, datatype=0))  # metal1
edge_detector_top.add(gdstk.FlexPath([(9.62,8.35),(15.09,8.35)], 0.7, ends="flush", simple_path=True, layer=34, datatype=0))  # metal1
edge_detector_top.add(gdstk.FlexPath([(8.16,0.35),(15.09,0.35)], 0.7, ends="flush", simple_path=True, layer=34, datatype=0))  # metal1
edge_detector_top.add(gdstk.FlexPath([(7.53,2.04),(7.53,4.44)], 0.28, ends="flush", simple_path=True, layer=34, datatype=0))  # metal1
edge_detector_top.add(gdstk.FlexPath([(6.17,7.44),(6.17,8)], 0.46, ends="flush", simple_path=True, layer=34, datatype=0))  # metal1
edge_detector_top.add(gdstk.FlexPath([(8.89,7.44),(8.89,8)], 0.46, ends="flush", simple_path=True, layer=34, datatype=0))  # metal1
edge_detector_top.add(gdstk.FlexPath([(6.17,0.7),(6.17,1.04)], 0.46, ends="flush", simple_path=True, layer=34, datatype=0))  # metal1
edge_detector_top.add(gdstk.FlexPath([(8.89,0.7),(8.89,1.04)], 0.46, ends="flush", simple_path=True, layer=34, datatype=0))  # metal1
edge_detector_top.add(gdstk.FlexPath([(5.44,8.35),(9.62,8.35)], 0.7, ends="flush", simple_path=True, layer=34, datatype=0))  # metal1
edge_detector_top.add(gdstk.FlexPath([(5.44,0.35),(9.62,0.35)], 0.7, ends="flush", simple_path=True, layer=34, datatype=0))  # metal1
edge_detector_top.add(gdstk.FlexPath([(2.09,2.04),(2.09,4.44)], 0.28, ends="flush", simple_path=True, layer=34, datatype=0))  # metal1
edge_detector_top.add(gdstk.FlexPath([(12.97,2.04),(12.97,4.44)], 0.28, ends="flush", simple_path=True, layer=34, datatype=0))  # metal1
edge_detector_top.add(gdstk.FlexPath([(11.61,7.44),(11.61,8)], 0.46, ends="flush", simple_path=True, layer=34, datatype=0))  # metal1
edge_detector_top.add(gdstk.FlexPath([(14.33,7.44),(14.33,8)], 0.46, ends="flush", simple_path=True, layer=34, datatype=0))  # metal1
edge_detector_top.add(gdstk.FlexPath([(11.61,0.7),(11.61,1.04)], 0.46, ends="flush", simple_path=True, layer=34, datatype=0))  # metal1
edge_detector_top.add(gdstk.FlexPath([(14.33,0.7),(14.33,1.04)], 0.46, ends="flush", simple_path=True, layer=34, datatype=0))  # metal1
edge_detector_top.add(gdstk.FlexPath([(11.61,7.44),(11.61,8)], 0.46, ends="flush", simple_path=True, layer=34, datatype=0))  # metal1
edge_detector_top.add(gdstk.FlexPath([(11.61,0.7),(11.61,1.04)], 0.46, ends="flush", simple_path=True, layer=34, datatype=0))  # metal1
edge_detector_top.add(gdstk.FlexPath([(0.73,7.44),(0.73,8)], 0.46, ends="flush", simple_path=True, layer=34, datatype=0))  # metal1
edge_detector_top.add(gdstk.FlexPath([(3.45,7.44),(3.45,8)], 0.46, ends="flush", simple_path=True, layer=34, datatype=0))  # metal1
edge_detector_top.add(gdstk.FlexPath([(0.73,0.7),(0.73,1.04)], 0.46, ends="flush", simple_path=True, layer=34, datatype=0))  # metal1
edge_detector_top.add(gdstk.FlexPath([(3.45,0.7),(3.45,1.04)], 0.46, ends="flush", simple_path=True, layer=34, datatype=0))  # metal1
edge_detector_top.add(gdstk.FlexPath([(0,8.35),(4.18,8.35)], 0.7, ends="flush", simple_path=True, layer=34, datatype=0))  # metal1
edge_detector_top.add(gdstk.FlexPath([(0,0.35),(4.18,0.35)], 0.7, ends="flush", simple_path=True, layer=34, datatype=0))  # metal1
edge_detector_top.add(gdstk.FlexPath([(14.33,2.04),(14.33,0)], 0.28, ends="flush", simple_path=True, layer=34, datatype=0))  # metal1
edge_detector_top.add(gdstk.FlexPath([(18.89,2.04),(18.89,0)], 0.28, ends="flush", simple_path=True, layer=34, datatype=0))  # metal1
edge_detector_top.add(gdstk.FlexPath([(23.45,2.04),(23.45,0)], 0.28, ends="flush", simple_path=True, layer=34, datatype=0))  # metal1
edge_detector_top.add(gdstk.FlexPath([(25.73,2.04),(25.73,0)], 0.28, ends="flush", simple_path=True, layer=34, datatype=0))  # metal1
edge_detector_top.add(gdstk.FlexPath([(18.89,7.44),(18.89,3.74)], 0.4, ends="flush", simple_path=True, layer=34, datatype=0))  # metal1
edge_detector_top.add(gdstk.FlexPath([(21.17,7.44),(21.17,3.74)], 0.4, ends="flush", simple_path=True, layer=34, datatype=0))  # metal1
edge_detector_top.add(gdstk.FlexPath([(17.75,8.7),(17.75,4.44)], 0.28, ends="flush", simple_path=True, layer=34, datatype=0))  # metal1
edge_detector_top.add(gdstk.FlexPath([(20.03,8.7),(20.03,4.44)], 0.28, ends="flush", simple_path=True, layer=34, datatype=0))  # metal1
edge_detector_top.add(gdstk.FlexPath([(22.31,8.7),(22.31,4.44)], 0.28, ends="flush", simple_path=True, layer=34, datatype=0))  # metal1
edge_detector_top.add(gdstk.FlexPath([(23.45,8.7),(23.45,4.44)], 0.28, ends="flush", simple_path=True, layer=34, datatype=0))  # metal1
edge_detector_top.add(gdstk.FlexPath([(25.73,8.7),(25.73,4.44)], 0.28, ends="flush", simple_path=True, layer=34, datatype=0))  # metal1
edge_detector_top.add(gdstk.FlexPath([(16.61,4.14),(16.61,1.04)], 0.28, ends="flush", simple_path=True, layer=34, datatype=0))  # metal1
edge_detector_top.add(gdstk.FlexPath([(21.17,7.44),(21.17,1.04)], 0.28, ends="flush", simple_path=True, layer=34, datatype=0))  # metal1
edge_detector_top.add(gdstk.FlexPath([(24.59,7.44),(24.59,1.04)], 0.28, ends="flush", simple_path=True, layer=34, datatype=0))  # metal1
edge_detector_top.add(gdstk.FlexPath([(16.32,8.35),(20.5,8.35)], 0.7, ends="flush", simple_path=True, layer=34, datatype=0))  # metal1
edge_detector_top.add(gdstk.FlexPath([(23.22,8.35),(26.48,8.35)], 0.7, ends="flush", simple_path=True, layer=34, datatype=0))  # metal1
edge_detector_top.add(gdstk.FlexPath([(19.04,8.35),(23.22,8.35)], 0.7, ends="flush", simple_path=True, layer=34, datatype=0))  # metal1
edge_detector_top.add(gdstk.FlexPath([(13.6,8.35),(17.78,8.35)], 0.7, ends="flush", simple_path=True, layer=34, datatype=0))  # metal1
edge_detector_top.add(gdstk.FlexPath([(13.6,0.35),(17.78,0.35)], 0.7, ends="flush", simple_path=True, layer=34, datatype=0))  # metal1
edge_detector_top.add(gdstk.FlexPath([(16.32,0.35),(20.5,0.35)], 0.7, ends="flush", simple_path=True, layer=34, datatype=0))  # metal1
edge_detector_top.add(gdstk.FlexPath([(10.88,0.35),(15.06,0.35)], 0.7, ends="flush", simple_path=True, layer=34, datatype=0))  # metal1
edge_detector_top.add(gdstk.FlexPath([(18.32,7.68),(18.32,0.8)], 0.28, ends="flush", simple_path=True, layer=30, datatype=0))  # poly2
edge_detector_top.add(gdstk.FlexPath([(19.46,7.68),(19.46,0.8)], 0.28, ends="flush", simple_path=True, layer=30, datatype=0))  # poly2
edge_detector_top.add(gdstk.FlexPath([(20.6,7.68),(20.6,0.8)], 0.28, ends="flush", simple_path=True, layer=30, datatype=0))  # poly2
edge_detector_top.add(gdstk.FlexPath([(21.74,7.68),(21.74,0.8)], 0.28, ends="flush", simple_path=True, layer=30, datatype=0))  # poly2
edge_detector_top.add(gdstk.FlexPath([(24.02,7.68),(24.02,0.8)], 0.28, ends="flush", simple_path=True, layer=30, datatype=0))  # poly2
edge_detector_top.add(gdstk.FlexPath([(25.16,7.68),(25.16,0.8)], 0.28, ends="flush", simple_path=True, layer=30, datatype=0))  # poly2
edge_detector_top.add(gdstk.FlexPath([(14.9,3.44),(14.9,0.8)], 0.28, ends="flush", simple_path=True, layer=30, datatype=0))  # poly2
edge_detector_top.add(gdstk.FlexPath([(22.88,3.44),(22.88,0.8)], 0.28, ends="flush", simple_path=True, layer=30, datatype=0))  # poly2
edge_detector_top.add(gdstk.FlexPath([(16.04,2.74),(16.04,0.8)], 0.28, ends="flush", simple_path=True, layer=30, datatype=0))  # poly2
edge_detector_top.add(gdstk.FlexPath([(17.18,2.74),(17.18,0.8)], 0.28, ends="flush", simple_path=True, layer=30, datatype=0))  # poly2
edge_detector_top.add(gdstk.Reference(std_cell_frame, (13.58,0)))
edge_detector_top.add(gdstk.Reference(std_cell_frame, (15.98,0)))
edge_detector_top.add(gdstk.Reference(std_cell_frame, (18.38,0)))
edge_detector_top.add(gdstk.Reference(std_cell_frame, (20.78,0)))
edge_detector_top.add(gdstk.Reference(std_cell_frame, (22.7,0)))
edge_detector_top.add(gdstk.Reference(std_pfet, (18.32,5.94)))
edge_detector_top.add(gdstk.Reference(std_pfet, (21.74,5.94)))
edge_detector_top.add(gdstk.Reference(std_pfet_2nf, (20.03,5.94)))
edge_detector_top.add(gdstk.Reference(std_pfet_2nf, (24.59,5.94)))
edge_detector_top.add(gdstk.Reference(via_dev_1, (15.27,1.64)))
edge_detector_top.add(gdstk.Reference(via_dev_1, (17.55,1.64)))
edge_detector_top.add(gdstk.Reference(via_dev_1, (19.83,1.64)))
edge_detector_top.add(gdstk.Reference(via_dev_1, (22.11,1.64)))
edge_detector_top.add(gdstk.Reference(via_dev_1, (24.39,3.04)))
edge_detector_top.add(gdstk.Reference(via_dev_1, (16.41,3.74)))
edge_detector_top.add(gdstk.Reference(via_dev_1, (18.69,3.74)))
edge_detector_top.add(gdstk.Reference(via_dev_1, (20.97,3.74)))
edge_detector_top.add(gdstk.Reference(std_nfet_2nf, (15.47,1.54)))
edge_detector_top.add(gdstk.Reference(std_nfet_2nf, (17.75,1.54)))
edge_detector_top.add(gdstk.Reference(std_nfet_2nf, (20.03,1.54)))
edge_detector_top.add(gdstk.Reference(std_nfet_2nf, (22.31,1.54)))
edge_detector_top.add(gdstk.Reference(std_nfet_2nf, (24.59,1.54)))
edge_detector_top.add(gdstk.Reference(via_dev, (15.78,2.34)))
edge_detector_top.add(gdstk.Reference(via_dev, (17.04,2.34)))
edge_detector_top.add(gdstk.Reference(via_dev, (20.34,2.34)))
edge_detector_top.add(gdstk.Reference(via_dev, (21.6,2.34)))
edge_detector_top.add(gdstk.Reference(via_dev, (14.7,3.04)))
edge_detector_top.add(gdstk.Reference(via_dev, (18.12,3.04)))
edge_detector_top.add(gdstk.Reference(via_dev, (19.26,3.04)))
edge_detector_top.add(gdstk.Reference(via_dev, (22.68,3.04)))
edge_detector_top.add(gdstk.Reference(via_dev, (23.76,3.74)))
edge_detector_top.add(gdstk.Reference(via_dev, (25.02,3.74)))
edge_detector_top.add(gdstk.Label('IN', (0.4,3.94), layer=36, texttype=10))
edge_detector_top.add(gdstk.Label('OUT', (25.87,3.24), layer=36, texttype=10))
edge_detector_top.add(gdstk.Label('VDD', (17.47,8.46), layer=34, texttype=10))
edge_detector_top.add(gdstk.Label('VDD', (20.29,8.35), layer=34, texttype=10))
edge_detector_top.add(gdstk.Label('VSS', (14.75,0.465), layer=34, texttype=10))
edge_detector_top.add(gdstk.Label('VSS', (17.54,0.35), layer=34, texttype=10))
edge_detector_top.add(gdstk.Label('VDD', (3.87,8.46), layer=34, texttype=10))
edge_detector_top.add(gdstk.Label('VSS', (3.87,0.465), layer=34, texttype=10))
edge_detector_top.add(gdstk.Label('VSS', (6.66,0.35), layer=34, texttype=10))
edge_detector_top.add(gdstk.Label('VDD', (6.69,8.35), layer=34, texttype=10))

lib.write_gds('edge_detector_TOP.gds')
